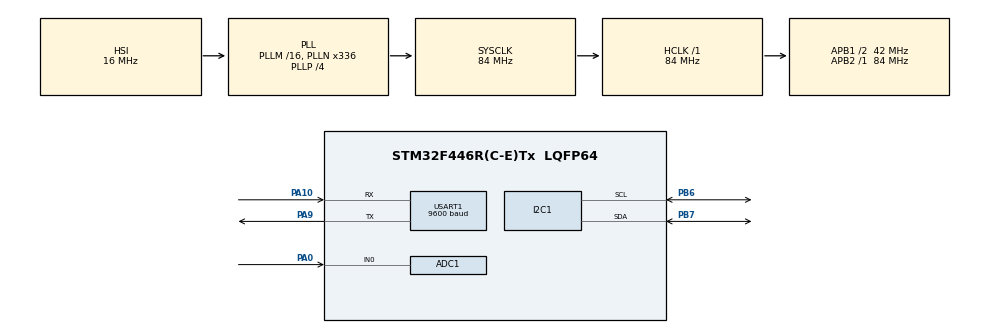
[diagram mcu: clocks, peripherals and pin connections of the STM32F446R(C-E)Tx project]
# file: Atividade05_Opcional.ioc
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ADC1.Channel-1\#ChannelRegularConversion=ADC_CHANNEL_0
ADC1.ClockPrescaler=ADC_CLOCK_SYNC_PCLK_DIV6
ADC1.NbrOfConversionFlag=1
ADC1.Rank-1\#ChannelRegularConversion=1
ADC1.SamplingTime-1\#ChannelRegularConversion=ADC_SAMPLETIME_3CYCLES
ADC1.master=1
FREERTOS.Queues01=Queue01,10,uint8_t,0,Dynamic,NULL,NULL
FREERTOS.Tasks01=Task01,40,128,StartTask01,Default,NULL,Dynamic,NULL,NULL;Task02,8,128,StartTask02,Default,NULL,Dynamic,NULL,NULL
FREERTOS.configUSE_NEWLIB_REENTRANT=1
Mcu.Family=STM32F4
Mcu.Name=STM32F446R(C-E)Tx
Mcu.Package=LQFP64
NVIC.PriorityGroup=NVIC_PRIORITYGROUP_4
NVIC.TIM1_UP_TIM10_IRQn=true\:15\:0\:false\:false\:true\:false\:false\:true\:true
NVIC.TimeBase=TIM1_UP_TIM10_IRQn
NVIC.TimeBaseIP=TIM1
PA0-WKUP.Signal=ADCx_IN0
PA10.Mode=Asynchronous
PA10.Signal=USART1_RX
PA13.Mode=Serial_Wire
PA13.Signal=SYS_JTMS-SWDIO
PA14.Mode=Serial_Wire
PA14.Signal=SYS_JTCK-SWCLK
PA9.Mode=Asynchronous
PA9.Signal=USART1_TX
PB6.Mode=I2C
PB6.Signal=I2C1_SCL
PB7.Mode=I2C
PB7.Signal=I2C1_SDA
PH0-OSC_IN.Mode=HSE-External-Oscillator
PH0-OSC_IN.Signal=RCC_OSC_IN
PH1-OSC_OUT.Mode=HSE-External-Oscillator
PH1-OSC_OUT.Signal=RCC_OSC_OUT
ProjectManager.HeapSize=0x200
ProjectManager.StackSize=0x400
ProjectManager.TargetToolchain=STM32CubeIDE
RCC.AHBFreq_Value=84000000
RCC.APB1CLKDivider=RCC_HCLK_DIV2
RCC.APB1Freq_Value=42000000
RCC.APB1TimFreq_Value=84000000
RCC.APB2Freq_Value=84000000
RCC.APB2TimFreq_Value=84000000
RCC.CortexFreq_Value=84000000
RCC.FLatency-AdvancedSettings=FLASH_LATENCY_2
RCC.HCLKFreq_Value=84000000
RCC.HSE_VALUE=8000000
RCC.HSI_VALUE=16000000
RCC.LSE_VALUE=32768
RCC.PLLN=336
RCC.PLLP=RCC_PLLP_DIV4
RCC.SYSCLKFreq_VALUE=84000000
RCC.SYSCLKSource=RCC_SYSCLKSOURCE_PLLCLK
RCC.USBFreq_Value=168000000
RCC.VCOOutputFreq_Value=336000000
SH.ADCx_IN0.0=ADC1_IN0,IN0
USART1.BaudRate=9600
USART1.VirtualMode=VM_ASYNC
VP_FREERTOS_VS_CMSIS_V2.Mode=CMSIS_V2
VP_SYS_VS_tim1.Mode=TIM1
board=NUCLEO-F446RE

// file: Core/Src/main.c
/* USER CODE BEGIN Header */
/**
  ******************************************************************************
  * @file           : main.c
  * @brief          : Main program body
  ******************************************************************************
  * @attention
  *
  * Copyright (c) 2025 STMicroelectronics.
  * All rights reserved.
  *
  * This software is licensed under terms that can be found in the LICENSE file
  * in the root directory of this software component.
  * If no LICENSE file comes with this software, it is provided AS-IS.
  *
  ******************************************************************************
  */
/* USER CODE END Header */
#include "main.h"
#include "cmsis_os.h"

/* USER CODE BEGIN Includes */
#include<stdio.h>
#include<string.h>
#include "i2c-lcd.h"

/* USER CODE END Includes */

ADC_HandleTypeDef hadc1;

I2C_HandleTypeDef hi2c1;

UART_HandleTypeDef huart1;

/* Definitions for Task01 */
osThreadId_t Task01Handle;
const osThreadAttr_t Task01_attributes = {
  .name = "Task01",
  .stack_size = 128 * 4,
  .priority = (osPriority_t) osPriorityHigh,
};
/* Definitions for Task02 */
osThreadId_t Task02Handle;
const osThreadAttr_t Task02_attributes = {
  .name = "Task02",
  .stack_size = 128 * 4,
  .priority = (osPriority_t) osPriorityNormal,
};
/* Definitions for Queue01 */
osMessageQueueId_t Queue01Handle;
const osMessageQueueAttr_t Queue01_attributes = {
  .name = "Queue01"
};
/* USER CODE BEGIN PV */
typedef struct
{
	char buff[40];
	uint8_t UID_SENSOR;

} MESSAGE_OBJ_T;

/* USER CODE END PV */

void SystemClock_Config(void);
static void MX_GPIO_Init(void);
static void MX_USART1_UART_Init(void);
static void MX_ADC1_Init(void);
static void MX_I2C1_Init(void);
void StartTask01(void *argument);
void StartTask02(void *argument);

/* USER CODE BEGIN 0 */
double map(long x, double in_min, double in_max, double out_min, double out_max)
{
    return (x - in_min) * (out_max - out_min) / (in_max - in_min) + out_min;
}

/* USER CODE END 0 */

int main(void)
{

  /* MCU Configuration--------------------------------------------------------*/

  /* Reset of all peripherals, Initializes the Flash interface and the Systick. */
  HAL_Init();

  /* Configure the system clock */
  SystemClock_Config();

  /* Initialize all configured peripherals */
  MX_GPIO_Init();
  MX_USART1_UART_Init();
  MX_ADC1_Init();
  MX_I2C1_Init();

  /* Init scheduler */
  osKernelInitialize();

  /* Create the queue(s) */
  /* creation of Queue01 */
  Queue01Handle = osMessageQueueNew (10, sizeof(MESSAGE_OBJ_T), &Queue01_attributes);

  /* Create the thread(s) */
  /* creation of Task01 */
  Task01Handle = osThreadNew(StartTask01, NULL, &Task01_attributes);

  /* creation of Task02 */
  Task02Handle = osThreadNew(StartTask02, NULL, &Task02_attributes);

  /* Start scheduler */
  osKernelStart();

  /* We should never get here as control is now taken by the scheduler */

  /* Infinite loop */
  while (1)
  {

  }
}

void SystemClock_Config(void)
{
  RCC_OscInitTypeDef RCC_OscInitStruct = {0};
  RCC_ClkInitTypeDef RCC_ClkInitStruct = {0};

  /** Configure the main internal regulator output voltage
  */
  __HAL_RCC_PWR_CLK_ENABLE();
  __HAL_PWR_VOLTAGESCALING_CONFIG(PWR_REGULATOR_VOLTAGE_SCALE3);

  /** Initializes the RCC Oscillators according to the specified parameters
  * in the RCC_OscInitTypeDef structure.
  */
  RCC_OscInitStruct.OscillatorType = RCC_OSCILLATORTYPE_HSI;
  RCC_OscInitStruct.HSIState = RCC_HSI_ON;
  RCC_OscInitStruct.HSICalibrationValue = RCC_HSICALIBRATION_DEFAULT;
  RCC_OscInitStruct.PLL.PLLState = RCC_PLL_ON;
  RCC_OscInitStruct.PLL.PLLSource = RCC_PLLSOURCE_HSI;
  RCC_OscInitStruct.PLL.PLLM = 16;
  RCC_OscInitStruct.PLL.PLLN = 336;
  RCC_OscInitStruct.PLL.PLLP = RCC_PLLP_DIV4;
  RCC_OscInitStruct.PLL.PLLQ = 2;
  RCC_OscInitStruct.PLL.PLLR = 2;
  if (HAL_RCC_OscConfig(&RCC_OscInitStruct) != HAL_OK)
  {
    Error_Handler();
  }

  /** Initializes the CPU, AHB and APB buses clocks
  */
  RCC_ClkInitStruct.ClockType = RCC_CLOCKTYPE_HCLK|RCC_CLOCKTYPE_SYSCLK
                              |RCC_CLOCKTYPE_PCLK1|RCC_CLOCKTYPE_PCLK2;
  RCC_ClkInitStruct.SYSCLKSource = RCC_SYSCLKSOURCE_PLLCLK;
  RCC_ClkInitStruct.AHBCLKDivider = RCC_SYSCLK_DIV1;
  RCC_ClkInitStruct.APB1CLKDivider = RCC_HCLK_DIV2;
  RCC_ClkInitStruct.APB2CLKDivider = RCC_HCLK_DIV1;

  if (HAL_RCC_ClockConfig(&RCC_ClkInitStruct, FLASH_LATENCY_2) != HAL_OK)
  {
    Error_Handler();
  }
}

static void MX_ADC1_Init(void)
{

  ADC_ChannelConfTypeDef sConfig = {0};

  /** Configure the global features of the ADC (Clock, Resolution, Data Alignment and number of conversion)
  */
  hadc1.Instance = ADC1;
  hadc1.Init.ClockPrescaler = ADC_CLOCK_SYNC_PCLK_DIV6;
  hadc1.Init.Resolution = ADC_RESOLUTION_12B;
  hadc1.Init.ScanConvMode = DISABLE;
  hadc1.Init.ContinuousConvMode = DISABLE;
  hadc1.Init.DiscontinuousConvMode = DISABLE;
  hadc1.Init.ExternalTrigConvEdge = ADC_EXTERNALTRIGCONVEDGE_NONE;
  hadc1.Init.ExternalTrigConv = ADC_SOFTWARE_START;
  hadc1.Init.DataAlign = ADC_DATAALIGN_RIGHT;
  hadc1.Init.NbrOfConversion = 1;
  hadc1.Init.DMAContinuousRequests = DISABLE;
  hadc1.Init.EOCSelection = ADC_EOC_SINGLE_CONV;
  if (HAL_ADC_Init(&hadc1) != HAL_OK)
  {
    Error_Handler();
  }

  /** Configure for the selected ADC regular channel its corresponding rank in the sequencer and its sample time.
  */
  sConfig.Channel = ADC_CHANNEL_0;
  sConfig.Rank = 1;
  sConfig.SamplingTime = ADC_SAMPLETIME_3CYCLES;
  if (HAL_ADC_ConfigChannel(&hadc1, &sConfig) != HAL_OK)
  {
    Error_Handler();
  }

}

static void MX_I2C1_Init(void)
{

  hi2c1.Instance = I2C1;
  hi2c1.Init.ClockSpeed = 100000;
  hi2c1.Init.DutyCycle = I2C_DUTYCYCLE_2;
  hi2c1.Init.OwnAddress1 = 0;
  hi2c1.Init.AddressingMode = I2C_ADDRESSINGMODE_7BIT;
  hi2c1.Init.DualAddressMode = I2C_DUALADDRESS_DISABLE;
  hi2c1.Init.OwnAddress2 = 0;
  hi2c1.Init.GeneralCallMode = I2C_GENERALCALL_DISABLE;
  hi2c1.Init.NoStretchMode = I2C_NOSTRETCH_DISABLE;
  if (HAL_I2C_Init(&hi2c1) != HAL_OK)
  {
    Error_Handler();
  }

}

static void MX_USART1_UART_Init(void)
{

  huart1.Instance = USART1;
  huart1.Init.BaudRate = 9600;
  huart1.Init.WordLength = UART_WORDLENGTH_8B;
  huart1.Init.StopBits = UART_STOPBITS_1;
  huart1.Init.Parity = UART_PARITY_NONE;
  huart1.Init.Mode = UART_MODE_TX_RX;
  huart1.Init.HwFlowCtl = UART_HWCONTROL_NONE;
  huart1.Init.OverSampling = UART_OVERSAMPLING_16;
  if (HAL_UART_Init(&huart1) != HAL_OK)
  {
    Error_Handler();
  }

}

static void MX_GPIO_Init(void)
{

  /* GPIO Ports Clock Enable */
  __HAL_RCC_GPIOH_CLK_ENABLE();
  __HAL_RCC_GPIOA_CLK_ENABLE();
  __HAL_RCC_GPIOB_CLK_ENABLE();

}

void StartTask01(void *argument)
{
  /* USER CODE BEGIN 5 */
	MESSAGE_OBJ_T msg={0};
	uint8_t uid = 123;
	uint16_t adcvalue;

  /* Infinite loop */
  for(;;)
  {
	  HAL_ADC_Start(&hadc1);
	  HAL_ADC_PollForConversion(&hadc1,100);
	  adcvalue = HAL_ADC_GetValue(&hadc1);

	  snprintf(msg.buff,sizeof(msg.buff),"%.1lf V",map(adcvalue,0,4095,0,3.3));
	  msg.UID_SENSOR = uid;
	  osMessageQueuePut(Queue01Handle,&msg,0,osWaitForever);
	  osDelay(1000);
  }
  /* USER CODE END 5 */
}

void StartTask02(void *argument)
{
  /* USER CODE BEGIN StartTask02 */
	MESSAGE_OBJ_T msg;
	char message[40];
	lcd_init();

  /* Infinite loop */
  for(;;)
  {
	  osMessageQueueGet(Queue01Handle,&msg,NULL,osWaitForever);

	  HAL_UART_Transmit(&huart1,(uint8_t*)msg.buff,strlen(msg.buff),HAL_MAX_DELAY);
	  snprintf(message,sizeof(message),"Leitura do Sensor:%d",msg.UID_SENSOR);
	  HAL_UART_Transmit(&huart1,(uint8_t*)message,strlen(message),HAL_MAX_DELAY);

	  //lcd_clear();
	  lcd_put_cur(0,0);
	  lcd_send_string(" Leitura Digital ");
	  lcd_put_cur(1,6);
	  lcd_send_string(msg.buff);
	  osDelay(100);

  }
  /* USER CODE END StartTask02 */
}

void HAL_TIM_PeriodElapsedCallback(TIM_HandleTypeDef *htim)
{
  if (htim->Instance == TIM1) {
    HAL_IncTick();
  }
}

void Error_Handler(void)
{
  __disable_irq();
  while (1)
  {
  }
}
